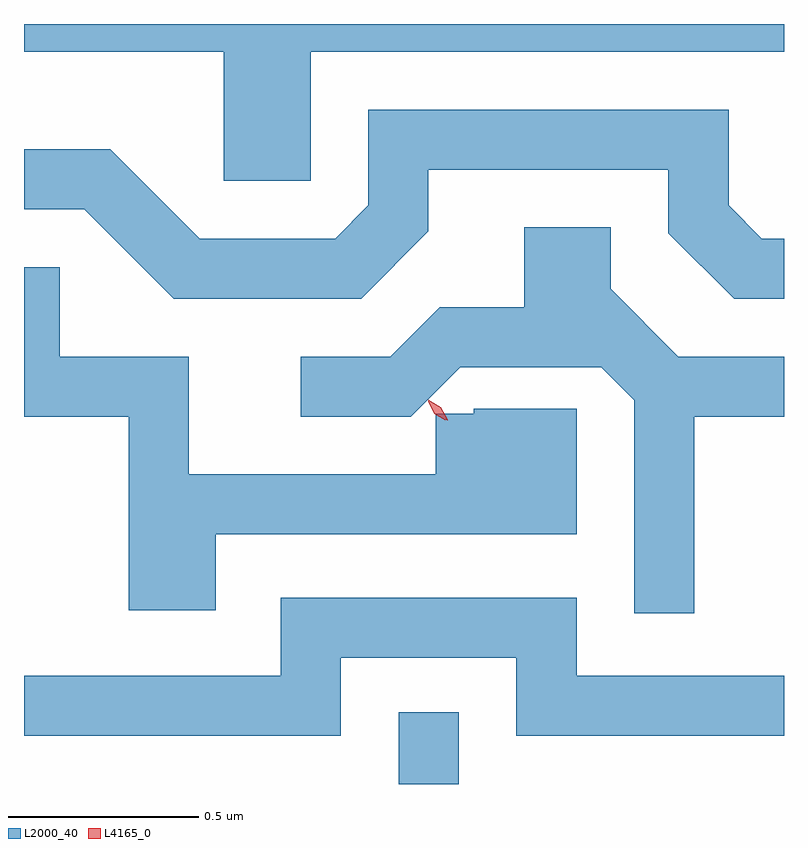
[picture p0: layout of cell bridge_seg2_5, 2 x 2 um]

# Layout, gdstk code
import gdstk
lib = gdstk.Library(unit=1e-6, precision=1e-09)
def R(c, l, rs):  # rectangles x0, y0, x1, y1
    for r in rs: c.add(gdstk.rectangle(r[:2], r[2:], *l))
def P(c, l, *ps):  # polygons
    for p in ps: c.add(gdstk.Polygon(p, *l))
L2000_40 = (2000, 40)
L4165_0 = (4165, 0)

bridge_seg2_5 = lib.new_cell('bridge_seg2_5')
R(bridge_seg2_5, L2000_40, [(1907.541,1073.029,1907.699,1073.218)])
P(bridge_seg2_5, L2000_40, [(1907.309,1074.956),(1908.555,1074.956),(1908.555,1075.029),(1906.555,1075.029),(1906.555,1074.956),(1907.081,1074.956),(1907.081,1074.616),(1907.309,1074.616)],
  [(1907.619,1074.484),(1907.619,1074.646),(1908.251,1074.646),(1908.251,1074.479),(1908.424,1074.306),(1908.555,1074.306),(1908.555,1074.464),(1908.497,1074.464),(1908.409,1074.552),(1908.409,1074.804),(1907.461,1074.804),(1907.461,1074.552),(1907.374,1074.464),(1907.017,1074.464),(1906.782,1074.699),(1906.555,1074.699),(1906.555,1074.541),(1906.714,1074.541),(1906.949,1074.306),(1907.442,1074.306)],
  [(1908.319,1073.996),(1908.555,1073.996),(1908.555,1074.154),(1908.277,1074.154),(1908.099,1074.332),(1908.099,1074.494),(1907.871,1074.494),(1907.871,1074.284),(1907.649,1074.284),(1907.519,1074.154),(1907.283,1074.154),(1907.283,1073.996),(1907.573,1073.996),(1907.703,1074.126),(1908.074,1074.126),(1908.161,1074.039),(1908.161,1073.478),(1908.319,1073.478)],
  [(1907.059,1073.686),(1908.009,1073.686),(1908.009,1074.017),(1907.738,1074.017),(1907.738,1074.004),(1907.638,1074.004),(1907.638,1073.844),(1906.989,1073.844),(1906.989,1074.154),(1906.649,1074.154),(1906.649,1074.389),(1906.555,1074.389),(1906.555,1073.996),(1906.831,1073.996),(1906.831,1073.486),(1907.059,1073.486)],
  [(1907.389,1073.361),(1907.851,1073.361),(1907.851,1073.156),(1908.555,1073.156),(1908.555,1073.314),(1908.009,1073.314),(1908.009,1073.519),(1907.231,1073.519),(1907.231,1073.314),(1906.555,1073.314),(1906.555,1073.156),(1907.389,1073.156)])
P(bridge_seg2_5, L4165_0, [(1907.669,1073.986),(1907.637,1074.006),(1907.619,1074.039),(1907.619,1074.04),(1907.619,1074.04),(1907.652,1074.02),(1907.67,1073.987),(1907.67,1073.986)],
  [(1907.664,1073.986),(1907.634,1074.004),(1907.619,1074.035),(1907.619,1074.036),(1907.619,1074.036),(1907.649,1074.018),(1907.664,1073.987),(1907.664,1073.986)])

lib.write_gds('bridge_seg2_5.gds')
